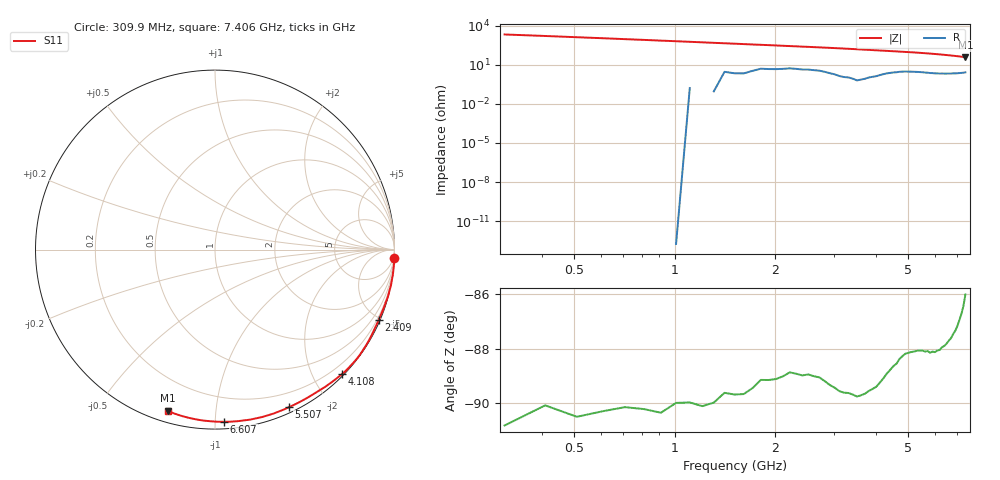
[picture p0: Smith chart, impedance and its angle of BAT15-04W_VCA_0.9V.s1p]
! Infineon Technologies  Discrete & RF Semiconductors
! BAT15-04W-E6327
! VCA = 0.9 V
! One-Port S-Parameters
# Hz  S  MA  R  50
!f  S11
!Hz  Mag  Ang
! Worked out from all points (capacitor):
!   72 points, 309.9 MHz to 7.406 GHz, reference 50 ohm
!   read as one part to ground: C = 245 fF near 309.9 MHz
!   lowest |Z| = 37.4 ohm at 7.406 GHz (marker M1)
!   S11 on the Smith chart (normalised r, x): 309.9 MHz: -1, -41; 2.409 GHz: 0.09, -4.84; 4.108 GHz: 0.03, -2.46; 5.507 GHz: 0.05, -1.57; 6.607 GHz: 0.04, -1.05; 7.406 GHz: 0.05, -0.75
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3.0985e8  1.001 -2.8
9.0955e8  1.001 -8.2
1.2094e9  1 -11.0
1.6092e9  0.9985 -15.0
2.10895e9  0.9941 -20.1
2.30885e9  0.9929 -22.1
2.4088e9  0.993 -23.3
2.70865e9  0.9927 -26.4
3.0085e9  0.9951 -29.9
3.2084e9  0.9965 -32.3
3.50825e9  0.9976 -36.3
3.90805e9  0.9941 -41.6
4.10795e9  0.9909 -44.3
4.6077e9  0.9805 -51.2
4.8076e9  0.9758 -54.1
5.2074e9  0.9718 -60.1
5.4073e9  0.9704 -63.3
5.50725e9  0.9699 -65.0
5.6072e9  0.9702 -66.6
5.70715e9  0.9695 -68.5
6.007e9  0.9691 -74.2
6.2069e9  0.9672 -78.3
6.4068e9  0.9643 -82.5
6.6067e9  0.9608 -86.9
6.8066e9  0.9567 -91.5
7.0065e9  0.9521 -96.2
7.2064e9  0.9454 -101.2
7.4063e9  0.9353 -106.4
